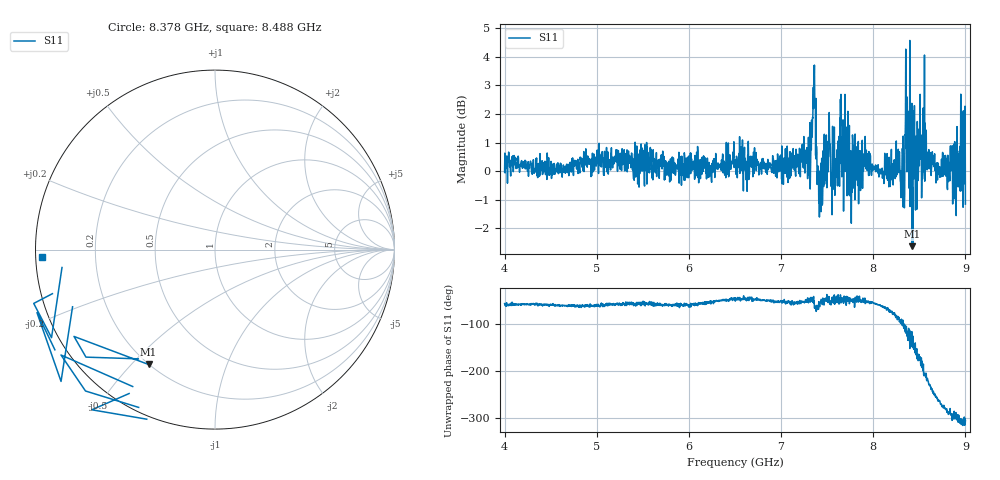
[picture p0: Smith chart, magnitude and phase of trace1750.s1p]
! Created with skrf 1.8.0 (http://scikit-rf.org).
# Hz S RI R 50.0
!freq ReS11 ImS11
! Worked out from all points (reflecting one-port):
!   1601 points, 4 GHz to 9 GHz, reference 50 ohm
!   lowest |S11| = -2.6 dB at 8.422 GHz (marker M1), VSWR 6.68, Z = 9.91 - j28 ohm
!   phase of S11 starts at -55 deg and turns -250 deg over the sweep
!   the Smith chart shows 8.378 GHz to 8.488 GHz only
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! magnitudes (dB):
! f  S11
! 4 GHz  0.0
! 4.625 GHz  -0.2
! 5.25 GHz  0.1
! 5.875 GHz  0.2
! 6.5 GHz  0.4
! 7.125 GHz  0.5
! 7.297 GHz  1.2
! 7.353 GHz  2.2
! 7.375 GHz  0.5
! 7.4 GHz  0.2
! 7.428 GHz  -0.4
! 7.509 GHz  0.0
! 7.588 GHz  0.4
! 7.669 GHz  0.6
! 7.75 GHz  -0.9
! 7.891 GHz  0.1
! 8.097 GHz  0.1
! 8.266 GHz  0.2
! 8.316 GHz  0.8
! 8.375 GHz  2.1
! 8.406 GHz  -0.2
! 8.422 GHz  -2.6
! 8.447 GHz  2.3
! 8.566 GHz  0.8
! 8.603 GHz  0.8
! 8.806 GHz  -0.6
! 8.972 GHz  0.9
! 9 GHz  -1.2
